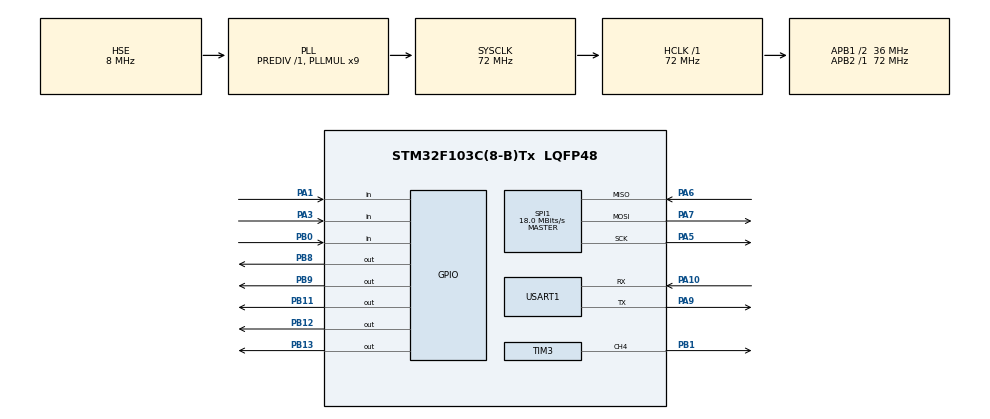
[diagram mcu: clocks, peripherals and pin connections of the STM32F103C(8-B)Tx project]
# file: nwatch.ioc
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Dma.Request0=SPI1_RX
Dma.Request1=SPI1_TX
Dma.SPI1_RX.0.Direction=DMA_PERIPH_TO_MEMORY
Dma.SPI1_RX.0.Instance=DMA1_Channel2
Dma.SPI1_RX.0.MemDataAlignment=DMA_MDATAALIGN_BYTE
Dma.SPI1_RX.0.MemInc=DMA_MINC_ENABLE
Dma.SPI1_RX.0.Mode=DMA_NORMAL
Dma.SPI1_RX.0.PeriphDataAlignment=DMA_PDATAALIGN_BYTE
Dma.SPI1_RX.0.PeriphInc=DMA_PINC_DISABLE
Dma.SPI1_RX.0.Priority=DMA_PRIORITY_LOW
Dma.SPI1_TX.1.Direction=DMA_MEMORY_TO_PERIPH
Dma.SPI1_TX.1.Instance=DMA1_Channel3
Dma.SPI1_TX.1.MemDataAlignment=DMA_MDATAALIGN_BYTE
Dma.SPI1_TX.1.MemInc=DMA_MINC_ENABLE
Dma.SPI1_TX.1.Mode=DMA_NORMAL
Dma.SPI1_TX.1.PeriphDataAlignment=DMA_PDATAALIGN_BYTE
Dma.SPI1_TX.1.PeriphInc=DMA_PINC_DISABLE
Dma.SPI1_TX.1.Priority=DMA_PRIORITY_LOW
FREERTOS.Tasks01=defaultTask,24,128,StartDefaultTask,Default,NULL,Dynamic,NULL,NULL
Mcu.Family=STM32F1
Mcu.Name=STM32F103C(8-B)Tx
Mcu.Package=LQFP48
NVIC.DMA1_Channel2_IRQn=true\:5\:0\:false\:false\:true\:true\:false\:true\:true
NVIC.DMA1_Channel3_IRQn=true\:5\:0\:false\:false\:true\:true\:false\:true\:true
NVIC.PriorityGroup=NVIC_PRIORITYGROUP_4
NVIC.TIM2_IRQn=true\:5\:0\:false\:false\:true\:true\:true\:true\:true
NVIC.TIM4_IRQn=true\:15\:0\:false\:false\:true\:false\:false\:true\:true
NVIC.TimeBase=TIM4_IRQn
NVIC.TimeBaseIP=TIM4
PA1.GPIO_PuPd=GPIO_PULLUP
PA1.Signal=GPIO_Input
PA10.Mode=Asynchronous
PA10.Signal=USART1_RX
PA13.Mode=Serial_Wire
PA13.Signal=SYS_JTMS-SWDIO
PA14.Mode=Serial_Wire
PA14.Signal=SYS_JTCK-SWCLK
PA3.GPIO_PuPd=GPIO_PULLUP
PA3.Signal=GPIO_Input
PA5.Mode=Full_Duplex_Master
PA5.Signal=SPI1_SCK
PA6.Mode=Full_Duplex_Master
PA6.Signal=SPI1_MISO
PA7.Mode=Full_Duplex_Master
PA7.Signal=SPI1_MOSI
PA9.Mode=Asynchronous
PA9.Signal=USART1_TX
PB0.GPIO_PuPd=GPIO_PULLUP
PB0.Signal=GPIO_Input
PB1.Signal=S_TIM3_CH4
PB11.GPIO_PuPd=GPIO_NOPULL
PB11.Signal=GPIO_Output
PB12.GPIO_PuPd=GPIO_PULLUP
PB12.PinState=GPIO_PIN_SET
PB12.Signal=GPIO_Output
PB13.GPIO_PuPd=GPIO_PULLUP
PB13.PinState=GPIO_PIN_SET
PB13.Signal=GPIO_Output
PB8.GPIO_ModeDefaultOutputPP=GPIO_MODE_OUTPUT_OD
PB8.GPIO_PuPd=GPIO_NOPULL
PB8.GPIO_Speed=GPIO_SPEED_FREQ_LOW
PB8.PinState=GPIO_PIN_SET
PB8.Signal=GPIO_Output
PB9.GPIO_ModeDefaultOutputPP=GPIO_MODE_OUTPUT_OD
PB9.GPIO_PuPd=GPIO_NOPULL
PB9.GPIO_Speed=GPIO_SPEED_FREQ_LOW
PB9.PinState=GPIO_PIN_SET
PB9.Signal=GPIO_Output
PD0-OSC_IN.Mode=HSE-External-Oscillator
PD0-OSC_IN.Signal=RCC_OSC_IN
PD1-OSC_OUT.Mode=HSE-External-Oscillator
PD1-OSC_OUT.Signal=RCC_OSC_OUT
ProjectManager.HeapSize=0x200
ProjectManager.StackSize=0x400
ProjectManager.TargetToolchain=MDK-ARM V5.32
RCC.AHBFreq_Value=72000000
RCC.APB1CLKDivider=RCC_HCLK_DIV2
RCC.APB1Freq_Value=36000000
RCC.APB1TimFreq_Value=72000000
RCC.APB2Freq_Value=72000000
RCC.APB2TimFreq_Value=72000000
RCC.HCLKFreq_Value=72000000
RCC.PLLMUL=RCC_PLL_MUL9
RCC.PLLSourceVirtual=RCC_PLLSOURCE_HSE
RCC.SYSCLKFreq_VALUE=72000000
RCC.SYSCLKSource=RCC_SYSCLKSOURCE_PLLCLK
RCC.USBFreq_Value=72000000
SH.S_TIM3_CH4.0=TIM3_CH4,PWM Generation4 CH4
SPI1.BaudRatePrescaler=SPI_BAUDRATEPRESCALER_4
SPI1.CalculateBaudRate=18.0 MBits/s
SPI1.Direction=SPI_DIRECTION_2LINES
SPI1.Mode=SPI_MODE_MASTER
SPI1.VirtualType=VM_MASTER
TIM3.Channel-PWM\ Generation4\ CH4=TIM_CHANNEL_4
USART1.VirtualMode=VM_ASYNC
VP_FREERTOS_VS_CMSIS_V2.Mode=CMSIS_V2
VP_RTC_VS_RTC_Activate.Mode=RTC_Enabled
VP_RTC_VS_RTC_Calendar.Mode=RTC_Calendar
VP_SYS_VS_tim4.Mode=TIM4
VP_TIM2_VS_ClockSourceINT.Mode=Internal
VP_TIM3_VS_ClockSourceINT.Mode=Internal
board=custom

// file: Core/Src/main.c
/* USER CODE BEGIN Header */
/**
  ******************************************************************************
  * @file           : main.c
  * @brief          : Main program body
  ******************************************************************************
  * @attention
  *
  * Copyright (c) 2024 STMicroelectronics.
  * All rights reserved.
  *
  * This software is licensed under terms that can be found in the LICENSE file
  * in the root directory of this software component.
  * If no LICENSE file comes with this software, it is provided AS-IS.
  *
  ******************************************************************************
  */
/* USER CODE END Header */
#include "main.h"
#include "cmsis_os.h"
#include "dma.h"
#include "rtc.h"
#include "spi.h"
#include "tim.h"
#include "usart.h"
#include "gpio.h"

void SystemClock_Config(void);
void MX_FREERTOS_Init(void);

int main(void)
{

  /* MCU Configuration--------------------------------------------------------*/

  /* Reset of all peripherals, Initializes the Flash interface and the Systick. */
  HAL_Init();

  /* Configure the system clock */
  SystemClock_Config();

  /* Initialize all configured peripherals */
  MX_GPIO_Init();
  MX_DMA_Init();
  MX_USART1_UART_Init();
  MX_RTC_Init();
  MX_TIM2_Init();
  MX_TIM3_Init();
  MX_SPI1_Init();

  /* Init scheduler */
  osKernelInitialize();  /* Call init function for freertos objects (in freertos.c) */
  MX_FREERTOS_Init();

  /* Start scheduler */
  osKernelStart();

  /* We should never get here as control is now taken by the scheduler */
  /* Infinite loop */
  while (1)
  {

  }
}

void SystemClock_Config(void)
{
  RCC_OscInitTypeDef RCC_OscInitStruct = {0};
  RCC_ClkInitTypeDef RCC_ClkInitStruct = {0};
  RCC_PeriphCLKInitTypeDef PeriphClkInit = {0};

  /** Initializes the RCC Oscillators according to the specified parameters
  * in the RCC_OscInitTypeDef structure.
  */
  RCC_OscInitStruct.OscillatorType = RCC_OSCILLATORTYPE_LSI|RCC_OSCILLATORTYPE_HSE;
  RCC_OscInitStruct.HSEState = RCC_HSE_ON;
  RCC_OscInitStruct.HSEPredivValue = RCC_HSE_PREDIV_DIV1;
  RCC_OscInitStruct.HSIState = RCC_HSI_ON;
  RCC_OscInitStruct.LSIState = RCC_LSI_ON;
  RCC_OscInitStruct.PLL.PLLState = RCC_PLL_ON;
  RCC_OscInitStruct.PLL.PLLSource = RCC_PLLSOURCE_HSE;
  RCC_OscInitStruct.PLL.PLLMUL = RCC_PLL_MUL9;
  if (HAL_RCC_OscConfig(&RCC_OscInitStruct) != HAL_OK)
  {
    Error_Handler();
  }

  /** Initializes the CPU, AHB and APB buses clocks
  */
  RCC_ClkInitStruct.ClockType = RCC_CLOCKTYPE_HCLK|RCC_CLOCKTYPE_SYSCLK
                              |RCC_CLOCKTYPE_PCLK1|RCC_CLOCKTYPE_PCLK2;
  RCC_ClkInitStruct.SYSCLKSource = RCC_SYSCLKSOURCE_PLLCLK;
  RCC_ClkInitStruct.AHBCLKDivider = RCC_SYSCLK_DIV1;
  RCC_ClkInitStruct.APB1CLKDivider = RCC_HCLK_DIV2;
  RCC_ClkInitStruct.APB2CLKDivider = RCC_HCLK_DIV1;

  if (HAL_RCC_ClockConfig(&RCC_ClkInitStruct, FLASH_LATENCY_2) != HAL_OK)
  {
    Error_Handler();
  }
  PeriphClkInit.PeriphClockSelection = RCC_PERIPHCLK_RTC;
  PeriphClkInit.RTCClockSelection = RCC_RTCCLKSOURCE_LSI;
  if (HAL_RCCEx_PeriphCLKConfig(&PeriphClkInit) != HAL_OK)
  {
    Error_Handler();
  }
}

/* USER CODE BEGIN 4 */
extern void Timer2Callback(TIM_HandleTypeDef *htim);
/* USER CODE END 4 */

void HAL_TIM_PeriodElapsedCallback(TIM_HandleTypeDef *htim)
{
  if (htim->Instance == TIM4) {
    HAL_IncTick();
  }
  /* USER CODE BEGIN Callback 1 */
    Timer2Callback(htim);
  /* USER CODE END Callback 1 */
}

void Error_Handler(void)
{
  __disable_irq();
  while (1)
  {
  }
}

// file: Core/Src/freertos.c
/* USER CODE BEGIN Header */
/**
  ******************************************************************************
  * File Name          : freertos.c
  * Description        : Code for freertos applications
  ******************************************************************************
  * @attention
  *
  * Copyright (c) 2024 STMicroelectronics.
  * All rights reserved.
  *
  * This software is licensed under terms that can be found in the LICENSE file
  * in the root directory of this software component.
  * If no LICENSE file comes with this software, it is provided AS-IS.
  *
  ******************************************************************************
  */
/* USER CODE END Header */

#include "FreeRTOS.h"
#include "task.h"
#include "main.h"
#include "cmsis_os.h"

/* USER CODE BEGIN Includes */
#include "drivers.h"
#include "common.h"
/* USER CODE END Includes */

/* Definitions for defaultTask */
osThreadId_t defaultTaskHandle;
const osThreadAttr_t defaultTask_attributes = {
  .name = "defaultTask",
  .stack_size = 128 * 4,
  .priority = (osPriority_t) osPriorityNormal,
};

void StartDefaultTask(void *argument);

void MX_FREERTOS_Init(void); /* (MISRA C 2004 rule 8.1) */

void MX_FREERTOS_Init(void) {

  /* Create the thread(s) */
  /* creation of defaultTask */
  defaultTaskHandle = osThreadNew(StartDefaultTask, NULL, &defaultTask_attributes);

}

void StartDefaultTask(void *argument)
{
  /* USER CODE BEGIN StartDefaultTask */
  /* Infinite loop */
  //DataInit();
  OledInit();
  W25QInit();
  AlarmInit();
  //OLED_Init();
  LedInit();
    ButtonInit();
  AppConfigInit();
  TimerInit(&htim2);
    watchLoad();
  for(;;)
  {
        ButtonUpdate();
		TimeUpdate();
		BuzzerUpdate();
  		displayupdata();
		LedUpdate();
		AlarmUpdate();
		StopWatchUpdate();
		OledUpdate();
		OledClear();

  }
  /* USER CODE END StartDefaultTask */
}
